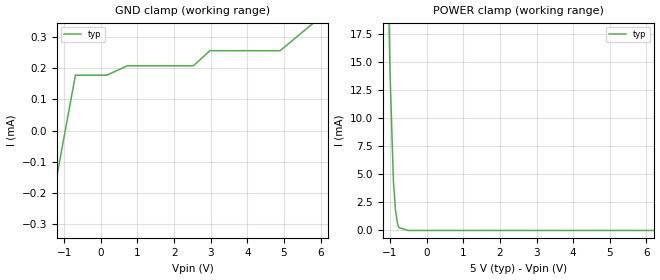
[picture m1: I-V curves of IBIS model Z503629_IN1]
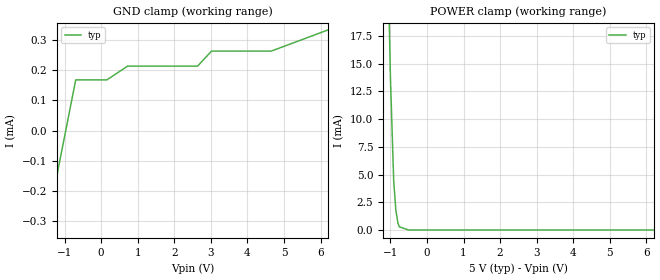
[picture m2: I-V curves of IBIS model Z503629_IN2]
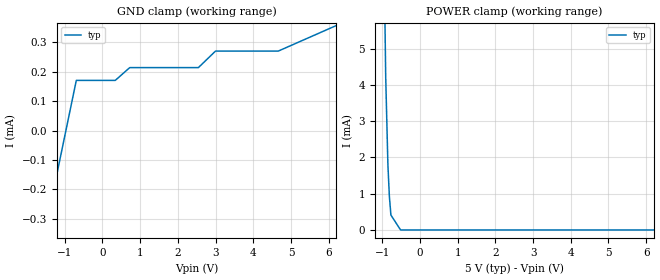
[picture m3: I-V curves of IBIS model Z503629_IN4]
| YOU ARE ONLY AUTHORIZED TO USE THIS SOFTWARE
| ACCORDING TO LICENSOR'S LICENSE RESTRICTIONS.
[IBIS Ver] 3.1
[File Name] mc14518bcl.ibs
[File Rev] 2.0
[Source] Measured and created by ICX Technology
[Date] Friday 7/14/00 9:07:56 AM
[Copyright]
| (C) COPYRIGHT 1993-2000
| MENTOR GRAPHICS CORPORATION
| ICX STANDARD LIBRARY, ICX PROJECT MODELING,
| ICX CUSTOM MODELING, ICX VENDOR MODEL
| ALL RIGHTS RESERVED.
| THE FOLLOWING ARE TRADEMARKS OR SERVICE MARKS OF
| MENTOR GRAPHICS CORPORATION:ICX (R), ICX STANDARD
| LIBRARY(R), ICX PROJECT MODELING(R), ICX CUSTOM
| MODELING(R), qualityIBIS(TM), MODELVIEWER(TM),
| AND MODELEDITOR(TM)
| ALL COPIES OF SOFTWARE, INCLUDING BUT NOT LIMITED TO
| ANY MODIFICATIONS, ENHANCEMENTS OR DERIVATIVE WORKS,
| MUST CONTAIN ALL MENTOR GRAPHICS CORPORATION'S
| NOTICES AND LEGENDS, INCLUDING THOSE EMBEDDED IN
| SOFTWARE AND THOSE AFFIXED TO SOFTWARE MEDIUM
| AND CONTAINER, AS RECEIVED FROM MENTOR GRAPHICS
| CORPORATION.
|  ZAP Model Builder 2.7
[Component] MC14518BCL
[Manufacturer] OnSemiconductor
[Package]
| variable   typ   min   max
R_pkg  .212ohms NA NA
L_pkg  4.758nH NA NA
C_pkg  1.944pF NA NA
[Pin] signal_name  model_name  R_pin  L_pin C_pin
1 CLKA Z503629_IN1 .224 7.258n 2.683p
2 EN Z503629_IN2 .216 5.258n 2.19p
3 Q0A Z503629_OUT3 .208 3.758n 1.697p
4 Q1A Z503629_OUT3 .2 2.758n 1.204p
5 Q2A Z503629_OUT3 .2 2.758n 1.204p
6 Q3A Z503629_OUT3 .208 3.758n 1.697p
7 RA Z503629_IN4 .216 5.258n 2.19p
8 VSS POWER .224 7.258n 2.683p
9 CLKB Z503629_IN1 .224 7.258n 2.683p
10 EN Z503629_IN2 .216 5.258n 2.19p
11 Q0B Z503629_OUT3 .208 3.758n 1.697p
12 Q1B Z503629_OUT3 .2 2.758n 1.204p
13 Q2B Z503629_OUT3 .2 2.758n 1.204p
14 Q3B Z503629_OUT3 .208 3.758n 1.697p
15 RB Z503629_IN4 .216 5.258n 2.19p
16 VDD POWER .224 7.258n 2.683p
| Models and submodels in the file (4): Z503629_IN1 (Input), Z503629_IN2 (Input), Z503629_IN4 (Input), Z503629_OUT3 (Output)
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| (C) COPYRIGHT 1993-2000
| MENTOR GRAPHICS CORPORATION
| ICX STANDARD LIBRARY, ICX PROJECT MODELING,
| ICX CUSTOM MODELING, ICX VENDOR MODEL
| ALL RIGHTS RESERVED.
| THE FOLLOWING ARE TRADEMARKS OR SERVICE MARKS OF
| MENTOR GRAPHICS CORPORATION:ICX (R), ICX STANDARD
| LIBRARY(R), ICX PROJECT MODELING(R), ICX CUSTOM
| MODELING(R), qualityIBIS(TM), MODELVIEWER(TM),
| AND MODELEDITOR(TM)
| ALL COPIES OF SOFTWARE, INCLUDING BUT NOT LIMITED TO
| ANY MODIFICATIONS, ENHANCEMENTS OR DERIVATIVE WORKS,
| MUST CONTAIN ALL MENTOR GRAPHICS CORPORATION'S
| NOTICES AND LEGENDS, INCLUDING THOSE EMBEDDED IN
| SOFTWARE AND THOSE AFFIXED TO SOFTWARE MEDIUM
| AND CONTAINER, AS RECEIVED FROM MENTOR GRAPHICS
| CORPORATION.
| Model Application Version 1.89 2/18/99.
[Model] Z503629_IN1
Model_type Input
Vinl = 1.500V
Vinh = 3.500V
C_comp 4.000pF NA NA
| variable typ   min   max
[Voltage Range] 5.000V NA NA
[GND Clamp Reference] 0.000V NA NA
[POWER Clamp Reference] 5.000V NA NA
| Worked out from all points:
|   POWER clamp passes 1 mA (typ) near -0.81 V on its own axis
[GND Clamp]
-5V       -2.58mA    NA         NA
-694mV    178.1uA    NA         NA
166.3mV   178.1uA    NA         NA
723.2mV   208.2uA    NA         NA
2.528V    208.2uA    NA         NA
2.979V    256.7uA    NA         NA
4.896V    256.7uA    NA         NA
10V       756.9uA    NA         NA
[POWER Clamp]
-5V       1.189A     NA         NA
-1.209V   58.4mA     NA         NA
-1.049V   21.87mA    NA         NA
-997mV    13.72mA    NA         NA
-908mV    4.406mA    NA         NA
-850mV    1.774mA    NA         NA
-792mV    554.7uA    NA         NA
-752mV    244.8uA    NA         NA
-501.3mV  0A         NA         NA
10V       0A         NA         NA
| (C) COPYRIGHT 1993-2000
| MENTOR GRAPHICS CORPORATION
| ICX STANDARD LIBRARY, ICX PROJECT MODELING,
| ICX CUSTOM MODELING, ICX VENDOR MODEL
| ALL RIGHTS RESERVED.
| THE FOLLOWING ARE TRADEMARKS OR SERVICE MARKS OF
| MENTOR GRAPHICS CORPORATION:ICX (R), ICX STANDARD
| LIBRARY(R), ICX PROJECT MODELING(R), ICX CUSTOM
| MODELING(R), qualityIBIS(TM), MODELVIEWER(TM),
| AND MODELEDITOR(TM)
| ALL COPIES OF SOFTWARE, INCLUDING BUT NOT LIMITED TO
| ANY MODIFICATIONS, ENHANCEMENTS OR DERIVATIVE WORKS,
| MUST CONTAIN ALL MENTOR GRAPHICS CORPORATION'S
| NOTICES AND LEGENDS, INCLUDING THOSE EMBEDDED IN
| SOFTWARE AND THOSE AFFIXED TO SOFTWARE MEDIUM
| AND CONTAINER, AS RECEIVED FROM MENTOR GRAPHICS
| CORPORATION.
| Model Application Version 1.89 2/18/99.
[Model] Z503629_IN2
Model_type Input
Vinl = 1.500V
Vinh = 3.500V
C_comp 4.000pF NA NA
| variable typ   min   max
[Voltage Range] 5.000V NA NA
[GND Clamp Reference] 0.000V NA NA
[POWER Clamp Reference] 5.000V NA NA
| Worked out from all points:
|   POWER clamp passes 1 mA (typ) near -0.81 V on its own axis
[GND Clamp]
-5V       -2.481mA   NA         NA
-693.5mV  167.8uA    NA         NA
156.5mV   167.8uA    NA         NA
723.3mV   213.3uA    NA         NA
2.636V    213.3uA    NA         NA
3.018V    263.2uA    NA         NA
4.651V    263.2uA    NA         NA
10V       505uA      NA         NA
[POWER Clamp]
-5V       1.174A     NA         NA
-1.21V    58.2mA     NA         NA
-1.049V   21.92mA    NA         NA
-998mV    13.81mA    NA         NA
-908mV    4.444mA    NA         NA
-850mV    1.81mA     NA         NA
-791mV    592.3uA    NA         NA
-751mV    274.4uA    NA         NA
-500.7mV  0A         NA         NA
10V       0A         NA         NA
| (C) COPYRIGHT 1993-2000
| MENTOR GRAPHICS CORPORATION
| ICX STANDARD LIBRARY, ICX PROJECT MODELING,
| ICX CUSTOM MODELING, ICX VENDOR MODEL
| ALL RIGHTS RESERVED.
| THE FOLLOWING ARE TRADEMARKS OR SERVICE MARKS OF
| MENTOR GRAPHICS CORPORATION:ICX (R), ICX STANDARD
| LIBRARY(R), ICX PROJECT MODELING(R), ICX CUSTOM
| MODELING(R), qualityIBIS(TM), MODELVIEWER(TM),
| AND MODELEDITOR(TM)
| ALL COPIES OF SOFTWARE, INCLUDING BUT NOT LIMITED TO
| ANY MODIFICATIONS, ENHANCEMENTS OR DERIVATIVE WORKS,
| MUST CONTAIN ALL MENTOR GRAPHICS CORPORATION'S
| NOTICES AND LEGENDS, INCLUDING THOSE EMBEDDED IN
| SOFTWARE AND THOSE AFFIXED TO SOFTWARE MEDIUM
| AND CONTAINER, AS RECEIVED FROM MENTOR GRAPHICS
| CORPORATION.
| Model Application Version 1.89 2/18/99.
[Model] Z503629_IN4
Model_type Input
Vinl = 1.500V
Vinh = 3.500V
C_comp 4.000pF NA NA
| variable typ   min   max
[Voltage Range] 5.000V NA NA
[GND Clamp Reference] 0.000V NA NA
[POWER Clamp Reference] 5.000V NA NA
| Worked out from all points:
|   POWER clamp passes 1 mA (typ) near -0.81 V on its own axis
[GND Clamp]
-5V       -2.496mA   NA         NA
-693.5mV  170.6uA    NA         NA
338.8mV   170.6uA    NA         NA
723mV     214.1uA    NA         NA
2.543V    214.1uA    NA         NA
2.998V    270.4uA    NA         NA
4.661V    270.4uA    NA         NA
10V       571.9uA    NA         NA
[POWER Clamp]
-5V       572.7mA    NA         NA
-1.181V   30.93mA    NA         NA
-1.02V    12.86mA    NA         NA
-908mV    4.217mA    NA         NA
-850mV    1.806mA    NA         NA
-811mV    927.6uA    NA         NA
-770mV    410.6uA    NA         NA
-513.3mV  0A         NA         NA
10V       0A         NA         NA
